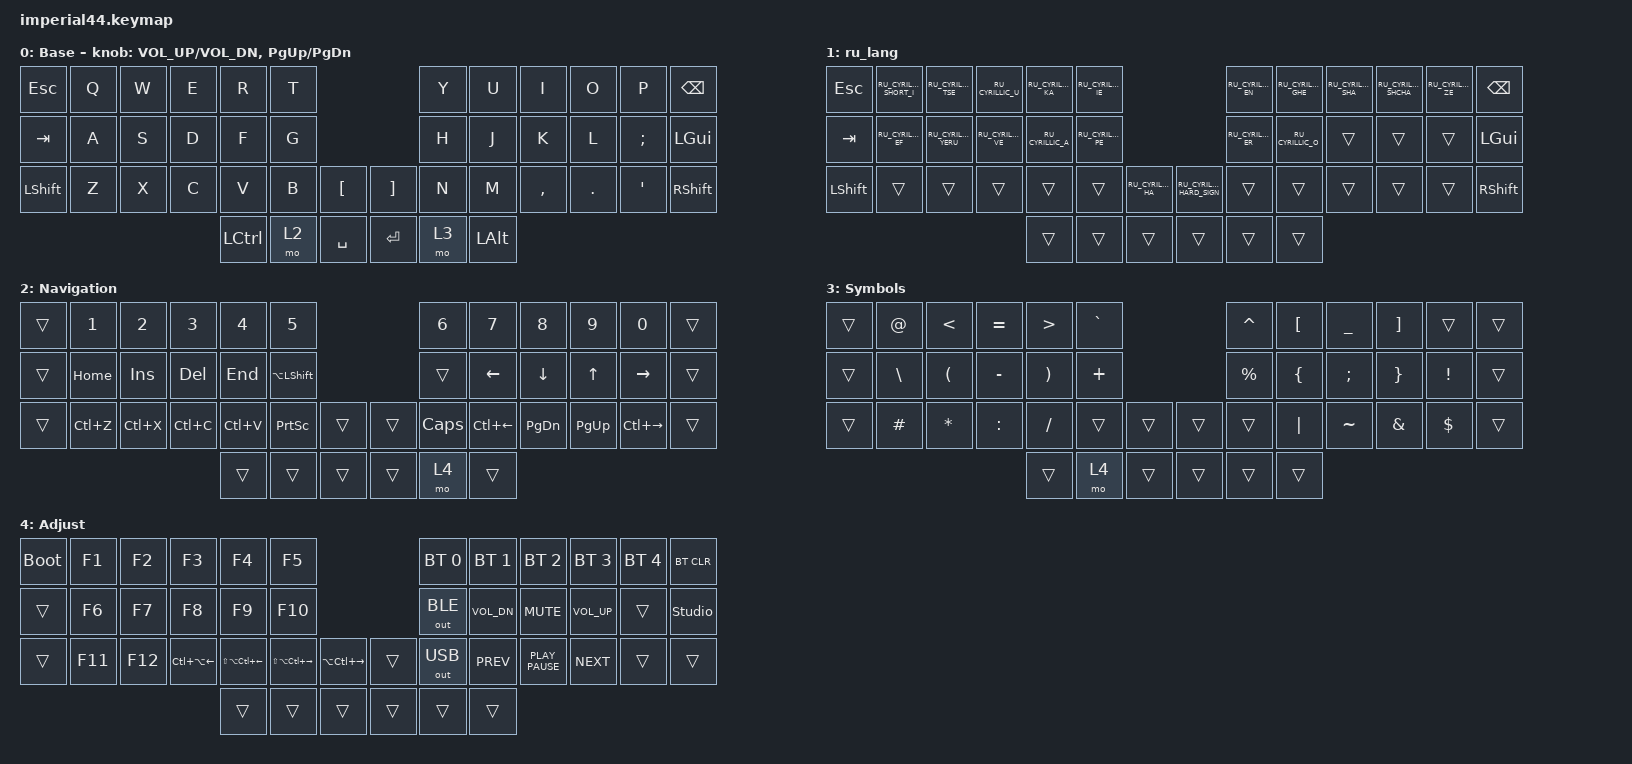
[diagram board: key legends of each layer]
#include "keys_ru.h"
#include <behaviors.dtsi>
#include <dt-bindings/zmk/bt.h>
#include <dt-bindings/zmk/keys.h>
#include <dt-bindings/zmk/outputs.h>

/ {
    keymap {
        compatible = "zmk,keymap";

        en {
            bindings = <
&kp ESC    &kp Q  &kp W  &kp E  &kp R      &kp T                          &kp Y  &kp U     &kp I      &kp O    &kp P     &kp BACKSPACE
&kp TAB    &kp A  &kp S  &kp D  &kp F      &kp G                          &kp H  &kp J     &kp K      &kp L    &kp SEMI  &kp LGUI
&kp LSHFT  &kp Z  &kp X  &kp C  &kp V      &kp B  &kp LBKT     &kp RBKT   &kp N  &kp M     &kp COMMA  &kp DOT  &kp SQT   &kp RSHFT
                                &kp LCTRL  &mo 2  &kp SPACE    &kp ENTER  &mo 3  &kp LALT
            >;

            display-name = "Base";
            sensor-bindings =
                <&inc_dec_kp C_VOL_UP C_VOL_DN>,
                <&inc_dec_kp PG_UP PG_DN>;

            label = "en_lang";
        };

        ru {
            bindings = <
&kp ESC         &kp RU_CYRILLIC_SHORT_I  &kp RU_CYRILLIC_TSE   &kp RU_CYRILLIC_U   &kp RU_CYRILLIC_KA  &kp RU_CYRILLIC_IE                                                   &kp RU_CYRILLIC_EN  &kp RU_CYRILLIC_GHE  &kp RU_CYRILLIC_SHA  &kp RU_CYRILLIC_SHCHA  &kp RU_CYRILLIC_ZE  &kp BACKSPACE
&kp TAB         &kp RU_CYRILLIC_EF       &kp RU_CYRILLIC_YERU  &kp RU_CYRILLIC_VE  &kp RU_CYRILLIC_A   &kp RU_CYRILLIC_PE                                                   &kp RU_CYRILLIC_ER  &kp RU_CYRILLIC_O    &trans               &trans                 &trans              &kp LEFT_GUI
&kp LEFT_SHIFT  &trans                   &trans                &trans              &trans              &trans              &kp RU_CYRILLIC_HA    &kp RU_CYRILLIC_HARD_SIGN  &trans              &trans               &trans               &trans                 &trans              &kp RIGHT_SHIFT
                                                                                   &trans              &trans              &trans                &trans                     &trans              &trans
            >;

            label = "ru_lang";
        };

        nav {
            bindings = <
&trans  &kp N1     &kp N2     &kp N3      &kp N4     &kp N5                             &kp N6        &kp N7        &kp N8     &kp N9     &kp N0         &trans
&trans  &kp HOME   &kp INS    &kp DELETE  &kp END    &kp LA(LSHFT)                      &trans        &kp LEFT      &kp DOWN   &kp UP     &kp RIGHT      &trans
&trans  &kp LC(Z)  &kp LC(X)  &kp LC(C)   &kp LC(V)  &kp PRINTSCREEN  &trans    &trans  &kp CAPSLOCK  &kp LC(LEFT)  &kp PG_DN  &kp PG_UP  &kp LC(RIGHT)  &trans
                                          &trans     &trans           &trans    &trans  &mo 4         &trans
            >;

            display-name = "Navigation";
        };

        sym {
            bindings = <
&trans  &kp AT    &kp LT    &kp EQUAL  &kp GT    &kp GRAVE                    &kp CARET  &kp LBKT  &kp UNDER  &kp RBKT  &trans    &trans
&trans  &kp BSLH  &kp LPAR  &kp MINUS  &kp RPAR  &kp PLUS                     &kp PRCNT  &kp LBRC  &kp SEMI   &kp RBRC  &kp EXCL  &trans
&trans  &kp HASH  &kp STAR  &kp COLON  &kp FSLH  &trans     &trans    &trans  &trans     &kp PIPE  &kp TILDE  &kp AMPS  &kp DLLR  &trans
                                       &trans    &mo 4      &trans    &trans  &trans     &trans
            >;

            display-name = "Symbols";
        };

        adj {
            bindings = <
&bootloader  &kp F1   &kp F2   &kp F3            &kp F4                &kp F5                                              &bt BT_SEL 0  &bt BT_SEL 1  &bt BT_SEL 2      &bt BT_SEL 3  &bt BT_SEL 4  &bt BT_CLR
&trans       &kp F6   &kp F7   &kp F8            &kp F9                &kp F10                                             &out OUT_BLE  &kp C_VOL_DN  &kp K_MUTE        &kp C_VOL_UP  &trans        &studio_unlock
&trans       &kp F11  &kp F12  &kp LC(LA(LEFT))  &kp LS(LA(LC(LEFT)))  &kp LS(LA(LC(RIGHT)))  &kp LA(LC(RIGHT))    &trans  &out OUT_USB  &kp K_PREV    &kp K_PLAY_PAUSE  &kp K_NEXT    &trans        &trans
                                                 &trans                &trans                 &trans               &trans  &trans        &trans
            >;

            display-name = "Adjust";
        };
    };
};
